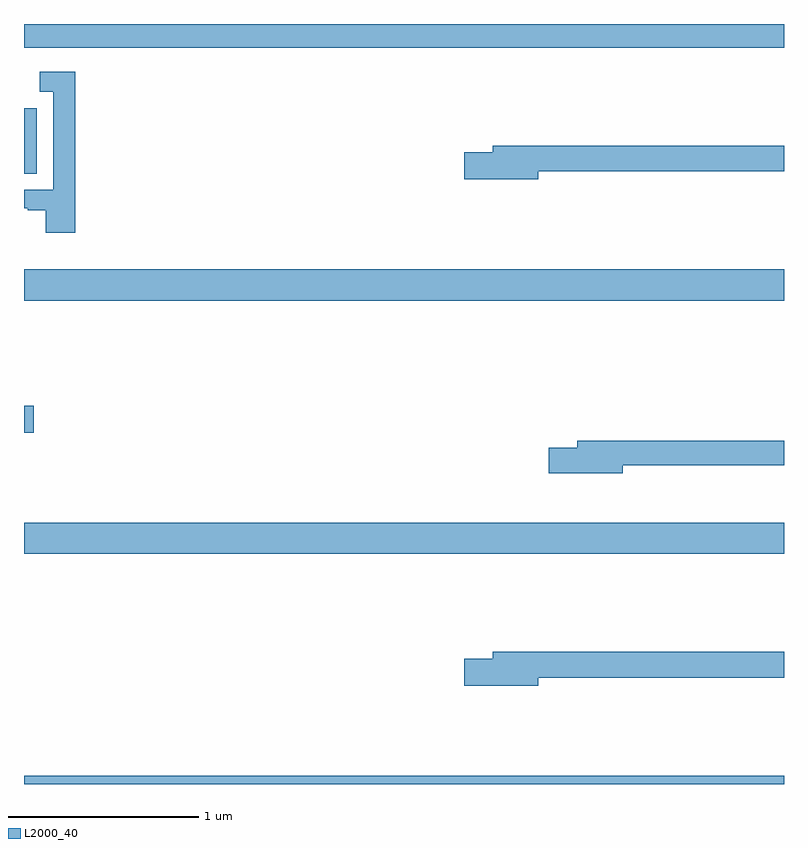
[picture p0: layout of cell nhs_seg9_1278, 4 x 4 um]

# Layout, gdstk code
import gdstk
lib = gdstk.Library(unit=1e-6, precision=1e-09)
def R(c, l, rs):  # rectangles x0, y0, x1, y1
    for r in rs: c.add(gdstk.rectangle(r[:2], r[2:], *l))
def P(c, l, *ps):  # polygons
    for p in ps: c.add(gdstk.Polygon(p, *l))
L2000_40 = (2000, 40)

nhs_seg9_1278 = lib.new_cell('nhs_seg9_1278')
R(nhs_seg9_1278, L2000_40, [(181,1236.5,185,1236.544), (181,1237.712,185,1237.876), (181,1238.35,181.051,1238.492), (181,1239.044,185,1239.208), (181,1239.712,181.066,1240.056), (181,1240.376,185,1240.5)])
P(nhs_seg9_1278, L2000_40, [(181.271,1240.249),(181.083,1240.249),(181.083,1240.143),(181.155,1240.143),(181.155,1239.627),(181,1239.627),(181,1239.531),(181.019,1239.531),(181.019,1239.519),(181.115,1239.519),(181.115,1239.402),(181.271,1239.402)],
  [(183.706,1239.724),(185,1239.724),(185,1239.86),(183.467,1239.86),(183.467,1239.824),(183.318,1239.824),(183.318,1239.682),(183.706,1239.682)],
  [(184.15,1238.178),(185,1238.178),(185,1238.306),(183.911,1238.306),(183.911,1238.27),(183.762,1238.27),(183.762,1238.135),(184.15,1238.135)],
  [(183.706,1237.06),(185,1237.06),(185,1237.196),(183.467,1237.196),(183.467,1237.16),(183.318,1237.16),(183.318,1237.018),(183.706,1237.018)])

lib.write_gds('nhs_seg9_1278.gds')
